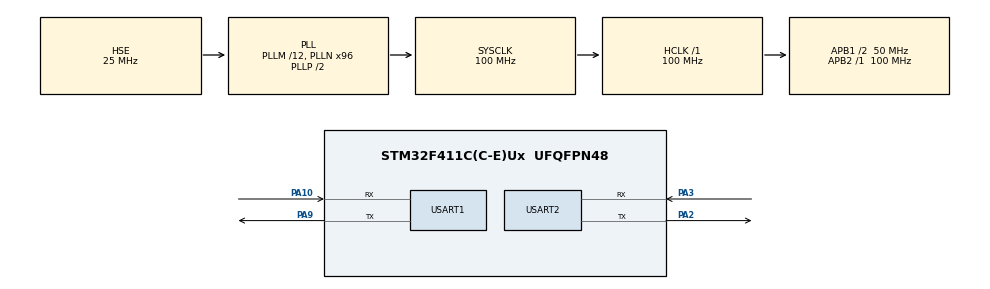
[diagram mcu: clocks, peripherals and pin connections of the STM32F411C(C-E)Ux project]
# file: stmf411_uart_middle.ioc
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Dma.Request0=USART1_RX
Dma.Request1=USART1_TX
Dma.USART1_RX.0.Direction=DMA_PERIPH_TO_MEMORY
Dma.USART1_RX.0.FIFOMode=DMA_FIFOMODE_DISABLE
Dma.USART1_RX.0.Instance=DMA2_Stream2
Dma.USART1_RX.0.MemDataAlignment=DMA_MDATAALIGN_BYTE
Dma.USART1_RX.0.MemInc=DMA_MINC_ENABLE
Dma.USART1_RX.0.Mode=DMA_CIRCULAR
Dma.USART1_RX.0.PeriphDataAlignment=DMA_PDATAALIGN_BYTE
Dma.USART1_RX.0.PeriphInc=DMA_PINC_DISABLE
Dma.USART1_RX.0.Priority=DMA_PRIORITY_LOW
Dma.USART1_TX.1.Direction=DMA_MEMORY_TO_PERIPH
Dma.USART1_TX.1.FIFOMode=DMA_FIFOMODE_DISABLE
Dma.USART1_TX.1.Instance=DMA2_Stream7
Dma.USART1_TX.1.MemDataAlignment=DMA_MDATAALIGN_BYTE
Dma.USART1_TX.1.MemInc=DMA_MINC_ENABLE
Dma.USART1_TX.1.Mode=DMA_NORMAL
Dma.USART1_TX.1.PeriphDataAlignment=DMA_PDATAALIGN_BYTE
Dma.USART1_TX.1.PeriphInc=DMA_PINC_DISABLE
Dma.USART1_TX.1.Priority=DMA_PRIORITY_LOW
FREERTOS.Tasks01=defaultTask,24,128,StartDefaultTask,Default,NULL,Dynamic,NULL,NULL
Mcu.Family=STM32F4
Mcu.Name=STM32F411C(C-E)Ux
Mcu.Package=UFQFPN48
NVIC.DMA2_Stream2_IRQn=true\:5\:0\:false\:false\:true\:true\:false\:true\:true
NVIC.DMA2_Stream7_IRQn=true\:5\:0\:false\:false\:true\:true\:false\:true\:true
NVIC.PriorityGroup=NVIC_PRIORITYGROUP_4
NVIC.TIM1_BRK_TIM9_IRQn=true\:15\:0\:false\:false\:true\:false\:false\:true\:true
NVIC.TimeBase=TIM1_BRK_TIM9_IRQn
NVIC.TimeBaseIP=TIM9
NVIC.USART1_IRQn=true\:5\:0\:false\:false\:true\:true\:true\:true\:true
PA10.Mode=Asynchronous
PA10.Signal=USART1_RX
PA13.Mode=Serial_Wire
PA13.Signal=SYS_JTMS-SWDIO
PA14.Mode=Serial_Wire
PA14.Signal=SYS_JTCK-SWCLK
PA2.Mode=Asynchronous
PA2.Signal=USART2_TX
PA3.Mode=Asynchronous
PA3.Signal=USART2_RX
PA9.Mode=Asynchronous
PA9.Signal=USART1_TX
PC14-OSC32_IN.Mode=LSE-External-Oscillator
PC14-OSC32_IN.Signal=RCC_OSC32_IN
PC15-OSC32_OUT.Mode=LSE-External-Oscillator
PC15-OSC32_OUT.Signal=RCC_OSC32_OUT
PH0\ -\ OSC_IN.Mode=HSE-External-Oscillator
PH0\ -\ OSC_IN.Signal=RCC_OSC_IN
PH1\ -\ OSC_OUT.Mode=HSE-External-Oscillator
PH1\ -\ OSC_OUT.Signal=RCC_OSC_OUT
ProjectManager.HeapSize=0x600
ProjectManager.StackSize=0x1000
ProjectManager.TargetToolchain=MDK-ARM V5.32
RCC.48MHZClocksFreq_Value=50000000
RCC.AHBFreq_Value=100000000
RCC.APB1CLKDivider=RCC_HCLK_DIV2
RCC.APB1Freq_Value=50000000
RCC.APB1TimFreq_Value=100000000
RCC.APB2Freq_Value=100000000
RCC.APB2TimFreq_Value=100000000
RCC.CortexFreq_Value=100000000
RCC.HCLKFreq_Value=100000000
RCC.HSE_VALUE=25000000
RCC.HSI_VALUE=16000000
RCC.PLLM=12
RCC.PLLN=96
RCC.PLLSourceVirtual=RCC_PLLSOURCE_HSE
RCC.SYSCLKFreq_VALUE=100000000
RCC.SYSCLKSource=RCC_SYSCLKSOURCE_PLLCLK
RCC.VCOOutputFreq_Value=200000000
USART1.VirtualMode=VM_ASYNC
USART2.VirtualMode=VM_ASYNC
VP_FREERTOS_VS_CMSIS_V2.Mode=CMSIS_V2
VP_SYS_VS_tim9.Mode=TIM9
board=custom

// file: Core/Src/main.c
/* USER CODE BEGIN Header */
/**
 ******************************************************************************
 * @file           : main.c
 * @brief          : Main program body
 ******************************************************************************
 * @attention
 *
 * Copyright (c) 2025 STMicroelectronics.
 * All rights reserved.
 *
 * This software is licensed under terms that can be found in the LICENSE file
 * in the root directory of this software component.
 * If no LICENSE file comes with this software, it is provided AS-IS.
 *
 ******************************************************************************
 */
/* USER CODE END Header */
#include "main.h"
#include "cmsis_os.h"
#include "dma.h"
#include "usart.h"
#include "gpio.h"
// #include "SEGGER_RTT.h"
#include "SEGGER_SYSVIEW.h"

void SystemClock_Config(void);
void MX_FREERTOS_Init(void);

int main(void)
{

    /* MCU Configuration--------------------------------------------------------*/

    /* Reset of all peripherals, Initializes the Flash interface and the Systick. */
    HAL_Init();

    /* Configure the system clock */
    SystemClock_Config();

    /* Initialize all configured peripherals */
    MX_GPIO_Init();
    MX_DMA_Init();
    MX_USART1_UART_Init();
    MX_USART2_UART_Init();
    /* USER CODE BEGIN 2 */
    SEGGER_RTT_Init();
    // SEGGER_SYSVIEW_Conf();
    SEGGER_RTT_printf(0,"segger rtt init\r\n");
    /* USER CODE END 2 */

    /* Init scheduler */
    osKernelInitialize(); /* Call init function for freertos objects (in cmsis_os2.c) */
    MX_FREERTOS_Init();

    /* Start scheduler */
    osKernelStart();

    /* We should never get here as control is now taken by the scheduler */

    /* Infinite loop */
    while (1)
    {

    }
}

void SystemClock_Config(void)
{
    RCC_OscInitTypeDef RCC_OscInitStruct = {0};
    RCC_ClkInitTypeDef RCC_ClkInitStruct = {0};

    /** Configure the main internal regulator output voltage
     */
    __HAL_RCC_PWR_CLK_ENABLE();
    __HAL_PWR_VOLTAGESCALING_CONFIG(PWR_REGULATOR_VOLTAGE_SCALE1);

    /** Initializes the RCC Oscillators according to the specified parameters
     * in the RCC_OscInitTypeDef structure.
     */
    RCC_OscInitStruct.OscillatorType = RCC_OSCILLATORTYPE_HSE;
    RCC_OscInitStruct.HSEState = RCC_HSE_ON;
    RCC_OscInitStruct.PLL.PLLState = RCC_PLL_ON;
    RCC_OscInitStruct.PLL.PLLSource = RCC_PLLSOURCE_HSE;
    RCC_OscInitStruct.PLL.PLLM = 12;
    RCC_OscInitStruct.PLL.PLLN = 96;
    RCC_OscInitStruct.PLL.PLLP = RCC_PLLP_DIV2;
    RCC_OscInitStruct.PLL.PLLQ = 4;
    if (HAL_RCC_OscConfig(&RCC_OscInitStruct) != HAL_OK)
    {
        Error_Handler();
    }

    /** Initializes the CPU, AHB and APB buses clocks
     */
    RCC_ClkInitStruct.ClockType = RCC_CLOCKTYPE_HCLK | RCC_CLOCKTYPE_SYSCLK | RCC_CLOCKTYPE_PCLK1 | RCC_CLOCKTYPE_PCLK2;
    RCC_ClkInitStruct.SYSCLKSource = RCC_SYSCLKSOURCE_PLLCLK;
    RCC_ClkInitStruct.AHBCLKDivider = RCC_SYSCLK_DIV1;
    RCC_ClkInitStruct.APB1CLKDivider = RCC_HCLK_DIV2;
    RCC_ClkInitStruct.APB2CLKDivider = RCC_HCLK_DIV1;

    if (HAL_RCC_ClockConfig(&RCC_ClkInitStruct, FLASH_LATENCY_3) != HAL_OK)
    {
        Error_Handler();
    }
}

void HAL_TIM_PeriodElapsedCallback(TIM_HandleTypeDef *htim)
{
    if (htim->Instance == TIM9)
    {
        HAL_IncTick();
    }
}

void Error_Handler(void)
{
    __disable_irq();
    while (1)
    {
    }
}

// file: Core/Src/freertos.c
/* USER CODE BEGIN Header */
/**
 ******************************************************************************
 * File Name          : freertos.c
 * Description        : Code for freertos applications
 ******************************************************************************
 * @attention
 *
 * Copyright (c) 2025 STMicroelectronics.
 * All rights reserved.
 *
 * This software is licensed under terms that can be found in the LICENSE file
 * in the root directory of this software component.
 * If no LICENSE file comes with this software, it is provided AS-IS.
 *
 ******************************************************************************
 */
/* USER CODE END Header */

#include "FreeRTOS.h"
#include "task.h"
#include "main.h"
#include "cmsis_os.h"

/* USER CODE BEGIN Includes */
#include "usart.h"
#include "uart_proto.h"
#include "queue.h"
#include <stdbool.h>
/* USER CODE END Includes */

/* USER CODE BEGIN PTD */
static int8_t my_parse_funcode(uint8_t *const p_data,
                        uint16_t data_len, frame_info_t *const frame_info);
void os_thread_create(
                    void (*task_code)(void*),
                    const char * const task_name,
                    const uint32_t stack_depth,
                    void * const parameters,
                    uint32_t priority,
                    void ** const thread_handle );
void os_thread_delete(void * const thread_handle);
void os_queue_create(uint32_t const item_num, uint32_t const item_size, void ** const queue_handle);
void os_queue_put_isr(void * const queue_handle, void * const item, long * const HigherPriorityTaskWoken);
void os_queue_get(void * const queue_handle, void * const item, uint32_t const timeout) ;
void os_enter_critical(void);
void os_exit_critical(void);
uint32_t  os_enter_critical_isr(void);
void os_exit_critical_isr(uint32_t primask);
void* os_malloc(uint8_t data_size);
void os_free(void* ptr) ;

static void funcode_cb(void *arg, uint8_t *const payload, uint16_t payload_len);
static void funcode_cb07(void *arg, uint8_t *const payload, uint16_t payload_len);
static void funcode_cb08(void *arg, uint8_t *const payload, uint16_t payload_len);

static void funcode_cb0a(void *arg, uint8_t *const payload, uint16_t payload_len);
static void funcode_cb0b(void *arg, uint8_t *const payload, uint16_t payload_len);
static void funcode_cb0c(void *arg, uint8_t *const payload, uint16_t payload_len);
static void funcode_cb0d(void *arg, uint8_t *const payload, uint16_t payload_len);
static void funcode_cb0e(void *arg, uint8_t *const payload, uint16_t payload_len);
static void funcode_cb0f(void *arg, uint8_t *const payload, uint16_t payload_len);
static void funcode_cb10(void *arg, uint8_t *const payload, uint16_t payload_len);
static void funcode_cb11(void *arg, uint8_t *const payload, uint16_t payload_len);
static void funcode_cb12(void *arg, uint8_t *const payload, uint16_t payload_len);
static void funcode_cb13(void *arg, uint8_t *const payload, uint16_t payload_len);
/* USER CODE END PTD */

/* USER CODE BEGIN PM */
// #define TASK_DEBUG_OUT(fmt, ...)    t_printf(fmt, ##__VA_ARGS__)
#define TASK_DEBUG_OUT(fmt, ...)        UP_DEBUG_OUT(fmt, ##__VA_ARGS__)
#define TASK_DEBUG_BLUE(fmt, ...)       UP_DEBUG_BLUE(fmt, ##__VA_ARGS__)
#define TASK_DEBUG_ISR(fmt, ...)        UP_DEBUG_ISR(fmt, ##__VA_ARGS__)
/* USER CODE END PM */

/* USER CODE BEGIN Variables */

static parse_algo_t parse_algo =
{
    .pf_parse_funcode = my_parse_funcode
};
static frame_parse_att_t frame_parse_att =
{
  .parse_algo = &parse_algo,
  .recv_buf = &g_recv_buf
};

os_interface_t os_interface =
{
    .pf_os_thread_create        = os_thread_create,
    .pf_os_thread_delete        = os_thread_delete,
    .pf_os_queue_create         = os_queue_create,
    .pf_os_queue_put_isr        = os_queue_put_isr,
    .pf_os_queue_get            = os_queue_get,
    .pf_os_enter_critical       = os_enter_critical,
    .pf_os_exit_critical        = os_exit_critical,
    .pf_os_enter_critical_isr   = os_enter_critical_isr,
    .pf_os_exit_critical_isr    = os_exit_critical_isr,
    .pf_os_malloc               = os_malloc,
    .pf_os_free                 = os_free
};

static uart_proto_input_arg_t uart_proto_input_arg =
{
  .frame_parse_att  = &frame_parse_att,
  .os_interface     = &os_interface,
  .uart_ops         = &g_uart_ops
};

uart_proto_t g_uart_proto;

/* USER CODE END Variables */
/* Definitions for defaultTask */
osThreadId_t defaultTaskHandle;
const osThreadAttr_t defaultTask_attributes = {
  .name = "defaultTask",
  .stack_size = 128 * 4,
  .priority = (osPriority_t) osPriorityNormal,
};

void StartDefaultTask(void *argument);

void MX_FREERTOS_Init(void); /* (MISRA C 2004 rule 8.1) */

void MX_FREERTOS_Init(void) {

  /* Create the thread(s) */
  /* creation of defaultTask */
  defaultTaskHandle = osThreadNew(StartDefaultTask, NULL, &defaultTask_attributes);

}

/* USER CODE BEGIN Header_StartDefaultTask */
extern UART_HandleTypeDef huart1;
/**
 * @brief  Function implementing the defaultTask thread.
 * @param  argument: Not used
 * @retval None
 */
/* USER CODE END Header_StartDefaultTask */
void StartDefaultTask(void *argument)
{
  /* USER CODE BEGIN StartDefaultTask */
    TASK_DEBUG_OUT("task1 begin");

    uart_proto_status_t ret;
    ret = uart_proto_inst(&g_uart_proto, &uart_proto_input_arg);
    if(UART_PROTO_OK != ret)
        TASK_DEBUG_OUT("inst error");
    else
    {
        subscribe_para_t subscribe_para =
        {
            .arg = NULL,
            .cb = funcode_cb07,
            .fun_code = 0x07
        };
        g_uart_proto.pf_subscribe(&g_uart_proto, &subscribe_para, NULL);
        subscribe_para.cb = funcode_cb08;
        subscribe_para.fun_code = 0x08;
        g_uart_proto.pf_subscribe(&g_uart_proto, &subscribe_para, NULL);

        subscribe_para.cb = funcode_cb0a;
        subscribe_para.fun_code = 0x0A;
        g_uart_proto.pf_subscribe(&g_uart_proto, &subscribe_para, NULL);
        subscribe_para.cb = funcode_cb0c;
        subscribe_para.fun_code = 0x0C;
        g_uart_proto.pf_subscribe(&g_uart_proto, &subscribe_para, NULL);
        subscribe_para.cb = funcode_cb0b;
        subscribe_para.fun_code = 0x0B;
        g_uart_proto.pf_subscribe(&g_uart_proto, &subscribe_para, NULL);
        subscribe_para.cb = funcode_cb0f;
        subscribe_para.fun_code = 0x0F;
        g_uart_proto.pf_subscribe(&g_uart_proto, &subscribe_para, NULL);
        subscribe_para.cb = funcode_cb0e;
        subscribe_para.fun_code = 0x0E;
        g_uart_proto.pf_subscribe(&g_uart_proto, &subscribe_para, NULL);
        subscribe_para.cb = funcode_cb12;
        subscribe_para.fun_code = 0x12;
        g_uart_proto.pf_subscribe(&g_uart_proto, &subscribe_para, NULL);
        subscribe_para.cb = funcode_cb13;
        subscribe_para.fun_code = 0x13;
        g_uart_proto.pf_subscribe(&g_uart_proto, &subscribe_para, NULL);
        subscribe_para.cb = funcode_cb10;
        subscribe_para.fun_code = 0x10;
        g_uart_proto.pf_subscribe(&g_uart_proto, &subscribe_para, NULL);
        subscribe_para.cb = funcode_cb11;
        subscribe_para.fun_code = 0x11;
        g_uart_proto.pf_subscribe(&g_uart_proto, &subscribe_para, NULL);
        subscribe_para.cb = funcode_cb0d;
        subscribe_para.fun_code = 0x0D;
        g_uart_proto.pf_subscribe(&g_uart_proto, &subscribe_para, NULL);

    }
    /* Infinite loop */
    for (;;)
    {
        osDelay(1);
    }
  /* USER CODE END StartDefaultTask */
}

/* USER CODE BEGIN Application */

static void funcode_cb(void *arg, uint8_t *const payload, uint16_t payload_len)
{
    TASK_DEBUG_OUT("pay_len=%d, is:  ", payload_len);
    for(uint16_t i=0; i<payload_len; i++)
        TASK_DEBUG_OUT("%02x ", payload[i]);
    TASK_DEBUG_OUT("\r\n");
    // TASK_DEBUG_OUT("%02x\r\n", payload[payload_len-1]);
}

static void funcode_cb07(void *arg, uint8_t *const payload, uint16_t payload_len)
{
    TASK_DEBUG_OUT(" 07 fun, ");
    funcode_cb(arg, payload, payload_len);
}

static void funcode_cb08(void *arg, uint8_t *const payload, uint16_t payload_len)
{
    TASK_DEBUG_OUT(" 08 fun, ");
    funcode_cb(arg, payload, payload_len);
}

static void funcode_cb0a(void *arg, uint8_t *const payload, uint16_t payload_len)
{
    static uint32_t cnt = 0;
    cnt ++;
    TASK_DEBUG_OUT(" 0A fun, cntA = %d. ", cnt);
    funcode_cb(arg, payload, payload_len);
}
static void funcode_cb0b(void *arg, uint8_t *const payload, uint16_t payload_len)
{
    static uint32_t cnt = 0;
    cnt ++;
    TASK_DEBUG_OUT(" 0B fun, cntB = %d. ", cnt);
    funcode_cb(arg, payload, payload_len);
}
static void funcode_cb0c(void *arg, uint8_t *const payload, uint16_t payload_len)
{
    static uint32_t cnt = 0;
    cnt ++;
    TASK_DEBUG_OUT(" 0C fun, cntC = %d. ", cnt);
    funcode_cb(arg, payload, payload_len);
}
static void funcode_cb0d(void *arg, uint8_t *const payload, uint16_t payload_len)
{
    static uint32_t cnt = 0;
    cnt ++;
    TASK_DEBUG_OUT(" 0D fun, cntD = %d. ", cnt);
    funcode_cb(arg, payload, payload_len);
}
static void funcode_cb0e(void *arg, uint8_t *const payload, uint16_t payload_len)
{
    static uint32_t cnt = 0;
    cnt ++;
    TASK_DEBUG_OUT(" 0E fun, cntE = %d. ", cnt);
    funcode_cb(arg, payload, payload_len);
}
static void funcode_cb0f(void *arg, uint8_t *const payload, uint16_t payload_len)
{
    static uint32_t cnt = 0;
    cnt ++;
    TASK_DEBUG_OUT(" 0F fun, cntF = %d. ", cnt);
    funcode_cb(arg, payload, payload_len);
}
static void funcode_cb10(void *arg, uint8_t *const payload, uint16_t payload_len)
{
    static uint32_t cnt = 0;
    cnt ++;
    TASK_DEBUG_OUT(" 10 fun, cnt10 = %d. ", cnt);
    funcode_cb(arg, payload, payload_len);
}
static void funcode_cb11(void *arg, uint8_t *const payload, uint16_t payload_len)
{
    static uint32_t cnt = 0;
    cnt ++;
    TASK_DEBUG_OUT(" 11 fun, cnt11 = %d. ", cnt);
    funcode_cb(arg, payload, payload_len);
}
static void funcode_cb12(void *arg, uint8_t *const payload, uint16_t payload_len)
{
    static uint32_t cnt = 0;
    cnt ++;
    TASK_DEBUG_OUT(" 12 fun, cnt12 = %d. ", cnt);
    funcode_cb(arg, payload, payload_len);
}
static void funcode_cb13(void *arg, uint8_t *const payload, uint16_t payload_len)
{
    static uint32_t cnt = 0;
    cnt ++;
    TASK_DEBUG_OUT(" 13 fun, cnt13 = %d. ", cnt);
    funcode_cb(arg, payload, payload_len);
}

static uint16_t modbus_crc16(const uint8_t *p_data, uint16_t len) {
    uint16_t crc = 0xFFFF;
    uint8_t i, j;
    if (p_data == NULL || len == 0) {
        TASK_DEBUG_OUT("crc error");
        return crc;
    }
    for (i = 0; i < len; i++) {
        crc ^= p_data[i];
        for (j = 0; j < 8; j++) {
            if (crc & 0x0001) {
                crc = (crc >> 1) ^ 0xA001;
            } else {
                crc >>= 1;
            }
        }
    }
    return crc;
}
#if 1

static uint16_t find_possible_header_tail(const uint8_t *p_data,
                                          uint16_t data_len,
                                          const uint8_t *header,
                                          uint16_t header_len)
{
    /* search for possible partial header remains*/
    uint16_t possible_len = 0;
    if (0 == data_len)
        return 0;

    for (uint16_t i = 1; i < header_len; i++)
    {
        if (0 == memcmp(&p_data[data_len - i], header, i))
        {
            possible_len = i;
        }
    }
    return possible_len;
}

static algo_status_t my_parse_funcode(uint8_t *const p_data,
                                      uint16_t data_len,
                                      frame_info_t *const frame_info)
{
    if (!p_data || !frame_info)
        return ALGO_ERR_OTHERS;

    const uint8_t header[] = {0xCC, 0xAA};
    const uint16_t min_frame_len = sizeof(header) + 1 /*fun_code*/ + 2 /*len*/ + 2 /*CRC*/ + 1 /*minimum payload*/;
    const uint16_t start_2_payload_len = sizeof(header) + 1 /*fun_code*/ + 2 /*len*/;
    const uint16_t payload_2_end_len = 2 /*CRC*/;

    if(data_len < min_frame_len)
        return ALGO_ING;
    /* Search for frame header */
    uint16_t index = 0;
    while (index + sizeof(header) <= data_len)
    {
        if (0 == memcmp(&p_data[index], header, sizeof(header)))
        {
            /* Header found */
            if (data_len - index < min_frame_len)
            {
                /* Not enough data for a full frame; keep the incomplete fragment for next time */
                frame_info->payload_len = 0;
                frame_info->pre_payload_len = index;  // Noise before header
                frame_info->post_payload_len = 0;
                if(index)
                    return ALGO_ERR_NOICE;
                return ALGO_ING;
            }

            uint8_t fun_code = p_data[index + sizeof(header)];
            uint16_t payload_len = p_data[index + sizeof(header) + 1] |
                                   (p_data[index + sizeof(header) + 2] << 8);//LSB

            /* Check validity of payload length */
            if (payload_len >= g_recv_buf.buffer_size / 2 || 0 == payload_len)
            {
                /* Invalid length, skip to next possible header */
                TASK_DEBUG_BLUE("data length illegal! len=0x%x\r\n", payload_len);
                uint16_t new_index = index + sizeof(header);
                bool found = false;
                while (new_index + sizeof(header) <= data_len)
                {
                    if (0 == memcmp(&p_data[new_index], header, sizeof(header)))
                    {
                        found = true;
                        break;
                    }
                    new_index++;
                }
                /* If a complete frame header is not found, then detect the possible partial frame header at the end. */
                if (found)
                {
                    frame_info->pre_payload_len = new_index;
                }
                else
                {
                    uint16_t possible_header_len = find_possible_header_tail(p_data, data_len, header, sizeof(header));
                    frame_info->pre_payload_len = data_len - possible_header_len;
                }
                frame_info->payload_len = 0;
                frame_info->post_payload_len = 0;
                return ALGO_ERR_LENGTH_INVALID;
            }

            /* Check if there is enough data for CRC */
            uint16_t total_frame_len = start_2_payload_len + payload_len + payload_2_end_len;
            if (data_len - index < total_frame_len)
            {
                /* Data incomplete; wait for the rest of the frame */
                return ALGO_ING;
            }

            /* CRC verification */
            uint16_t crc_recv = *(uint16_t*)&p_data[index + start_2_payload_len + payload_len];//LSB
            uint16_t crc_calc = modbus_crc16(&p_data[index], start_2_payload_len + payload_len);

            /* Successfully parsed */
            if (crc_recv == crc_calc)
            {
                frame_info->fun_code = fun_code;
                frame_info->payload_len = payload_len;
                frame_info->pre_payload_len = index + start_2_payload_len;
                frame_info->post_payload_len = payload_2_end_len;
                return ALGO_OK;
            }

            /* CRC error, try to find next header */
            TASK_DEBUG_BLUE("crc error, len=0x%x\r\n", payload_len);
            uint16_t search_start = index + 1; // Move forward one byte to avoid infinite loop
            uint16_t new_index = search_start;
            bool found = false;
            while (new_index + sizeof(header) <= data_len)
            {
                if (0 == memcmp(&p_data[new_index], header, sizeof(header)))
                {
                    found = true;
                    break;
                }
                new_index++;
            }
            if (found)
            {
                frame_info->pre_payload_len = new_index;
            }
            else
            {
                uint16_t possible_header_len = find_possible_header_tail(p_data, data_len, header, sizeof(header));
                frame_info->pre_payload_len = data_len - possible_header_len;
            }
            frame_info->payload_len = 0;
            frame_info->post_payload_len = 0;
            return ALGO_ERR_CRC;

        }
        index++;
    }

    /* No full header found, possible partial header remains */
    uint16_t possible_header_len = find_possible_header_tail(p_data, data_len, header, sizeof(header));
    frame_info->payload_len = 0;
    frame_info->pre_payload_len = data_len - possible_header_len;
    frame_info->post_payload_len = 0;

    if (frame_info->pre_payload_len)
        return ALGO_ERR_NOICE;

    return ALGO_ING;
}
#endif

void os_thread_create(
                    void (*task_code)(void*),
                    const char * const task_name,
                    const uint32_t stack_depth,
                    void * const parameters,
                    uint32_t priority,
                    void ** const thread_handle
                                                )
{
    BaseType_t result = xTaskCreate(task_code, task_name, stack_depth, parameters, priority, (TaskHandle_t*)thread_handle);
    if (pdPASS != result)
        TASK_DEBUG_BLUE("%xASSERTION FAILED: %s:%d\r\n",thread_handle, __FILE__, __LINE__);
}

void os_thread_delete(void * const thread_handle) {
    vTaskDelete((TaskHandle_t)thread_handle);
}

void os_queue_create(uint32_t const item_num, uint32_t const item_size, void ** const queue_handle) {
    QueueHandle_t queue = xQueueCreate(item_num, item_size);
    if (queue == NULL)
        TASK_DEBUG_BLUE("%xASSERTION FAILED: %s:%d\r\n",queue_handle, __FILE__, __LINE__);
    *queue_handle = queue;
}

void os_queue_put_isr(void * const queue_handle, void * const item, long * const HigherPriorityTaskWoken) {
    BaseType_t pxHigherPriorityTaskWoken = pdFALSE;
    BaseType_t result = xQueueSendFromISR((QueueHandle_t)queue_handle, item, &pxHigherPriorityTaskWoken);
    // TASK_DEBUG_BLUE("isr%d\r\n",result);
    if (HigherPriorityTaskWoken != NULL) {
        *HigherPriorityTaskWoken = pxHigherPriorityTaskWoken;
    }
    if (pdPASS != result)
        TASK_DEBUG_BLUE("%xASSERTION FAILED: %s:%d\r\n",queue_handle, __FILE__, __LINE__);
}

void os_queue_get(void * const queue_handle, void * const item, uint32_t const timeout) {
    BaseType_t result = xQueueReceive((QueueHandle_t)queue_handle, item, timeout);
    if (pdPASS != result)
        TASK_DEBUG_BLUE("%xASSERTION FAILED: %s:%d\r\n",queue_handle, __FILE__, __LINE__);
}

void os_enter_critical(void)
{
    taskENTER_CRITICAL();
}

void os_exit_critical(void)
{
    taskEXIT_CRITICAL();
}

uint32_t  os_enter_critical_isr(void)
{
    return taskENTER_CRITICAL_FROM_ISR();
}
void os_exit_critical_isr(uint32_t primask)
{
    taskEXIT_CRITICAL_FROM_ISR(primask);
}

void* os_malloc(uint8_t data_size)
{
    return pvPortMalloc((size_t)data_size);
}

void os_free(void* ptr)
{
    vPortFree(ptr);
}

/* USER CODE END Application */
